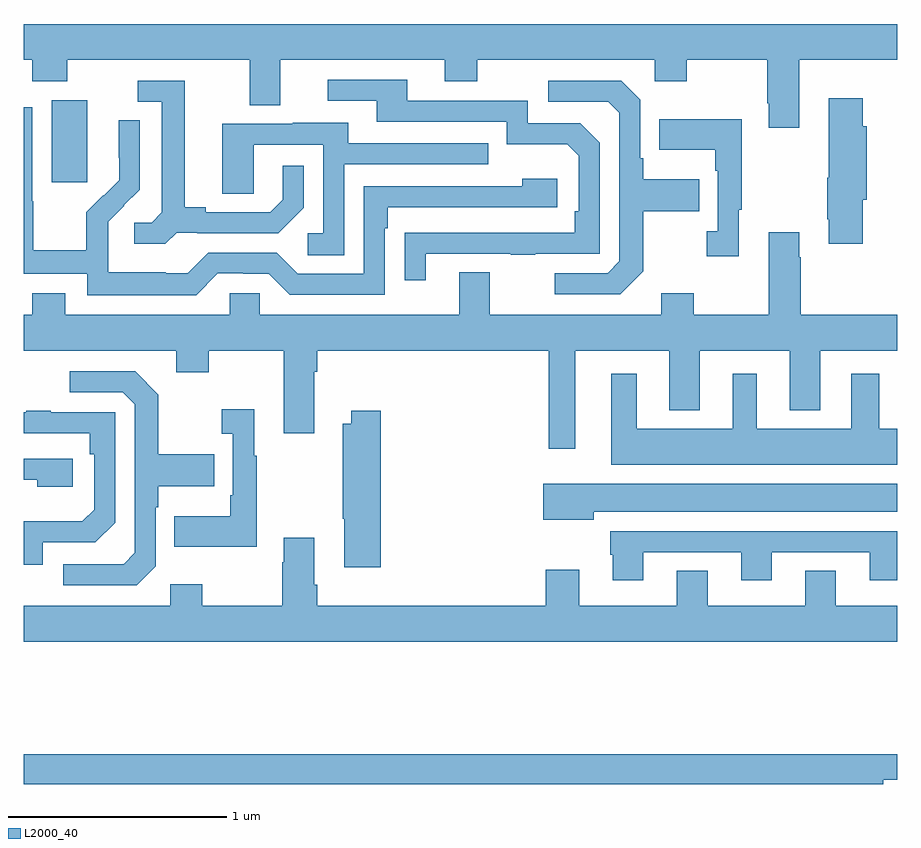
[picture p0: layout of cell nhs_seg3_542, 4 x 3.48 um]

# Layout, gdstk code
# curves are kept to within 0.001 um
import gdstk
lib = gdstk.Library(unit=1e-6, precision=1e-09)
def R(c, l, rs):  # rectangles x0, y0, x1, y1
    for r in rs: c.add(gdstk.rectangle(r[:2], r[2:], *l))
def P(c, l, *ps):  # polygons
    for p in ps: c.add(gdstk.Polygon(p, *l))
L2000_40 = (2000, 40)

nhs_seg3_542 = lib.new_cell('nhs_seg3_542')
R(nhs_seg3_542, L2000_40, [(137.129,733.656,137.29,734.032)])
P(nhs_seg3_542, L2000_40, [(140.551,734.216),(141,734.216),(141,734.38),(137,734.38),(137,734.216),(137.039,734.216),(137.039,734.117),(137.199,734.117),(137.199,734.216),(138.035,734.216),(138.035,734.008),(138.175,734.008),(138.175,734.216),(138.929,734.216),(138.929,734.117),(139.077,734.117),(139.077,734.216),(139.89,734.216),(139.89,734.117),(140.037,734.117),(140.037,734.216),(140.404,734.216),(140.404,734.017),(140.411,734.017),(140.411,733.905),(140.551,733.905)],
  [(138.841,733.329),(139.231,733.329),(139.231,733.324),(139.343,733.324),(139.343,733.329),(139.638,733.329),(139.638,733.836),(139.548,733.926),(139.308,733.926),(139.308,734.028),(138.757,734.028),(138.757,734.124),(138.393,734.124),(138.393,734.028),(138.617,734.028),(138.617,733.932),(139.212,733.932),(139.212,733.829),(139.489,733.829),(139.542,733.776),(139.542,733.522),(139.522,733.522),(139.522,733.425),(138.745,733.424),(138.745,733.206),(138.841,733.206)],
  [(137.7,733.425),(137.794,733.425),(137.794,733.422),(138.166,733.422),(138.282,733.538),(138.282,733.732),(138.185,733.732),(138.185,733.575),(138.128,733.518),(137.833,733.518),(137.833,733.541),(137.737,733.541),(137.737,734.121),(137.523,734.121),(137.523,734.025),(137.633,734.025),(137.633,733.517),(137.586,733.47),(137.505,733.47),(137.505,733.373),(137.648,733.373)],
  [(139.837,733.249),(139.837,733.522),(140.093,733.522),(140.093,733.669),(139.837,733.669),(139.837,733.765),(139.824,733.765),(139.824,734.034),(139.737,734.121),(139.401,734.121),(139.401,734.025),(139.677,734.025),(139.728,733.974),(139.728,733.293),(139.674,733.239),(139.431,733.239),(139.431,733.143),(139.731,733.143)],
  [(140.842,733.575),(140.86,733.575),(140.86,733.911),(140.842,733.911),(140.842,734.041),(140.687,734.041),(140.687,733.675),(140.68,733.675),(140.68,733.486),(140.687,733.486),(140.687,733.374),(140.842,733.374)],
  [(137.889,733.239),(138.005,733.239),(138.005,733.236),(138.123,733.236),(138.219,733.14),(138.654,733.14),(138.654,733.445),(138.667,733.445),(138.667,733.542),(139.444,733.542),(139.444,733.672),(139.283,733.672),(139.283,733.638),(138.558,733.638),(138.558,733.236),(138.255,733.236),(138.159,733.332),(137.844,733.332),(137.751,733.239),(137.651,733.239),(137.651,733.243),(137.388,733.243),(137.388,733.377),(137.386,733.377),(137.386,733.474),(137.532,733.622),(137.532,733.94),(137.435,733.94),(137.435,733.768),(137.438,733.768),(137.438,733.664),(137.367,733.593),(137.364,733.596),(137.287,733.519),(137.287,733.345),(137.043,733.345),(137.043,733.568),(137.04,733.568),(137.04,733.998),(137,733.998),(137,733.236),(137.292,733.236),(137.292,733.139),(137.789,733.139)],
  [(140.275,733.529),(140.287,733.529),(140.287,733.945),(139.909,733.945),(139.909,733.805),(140.166,733.805),(140.166,733.709),(140.178,733.709),(140.178,733.43),(140.127,733.43),(140.127,733.317),(140.275,733.317)],
  [(138.468,733.737),(139.127,733.737),(139.127,733.833),(138.487,733.833),(138.487,733.927),(138.233,733.927),(138.233,733.923),(137.909,733.923),(137.909,733.603),(138.054,733.603),(138.054,733.827),(138.372,733.827),(138.372,733.422),(138.3,733.422),(138.3,733.321),(138.468,733.321)],
  [(139.525,732.884),(139.955,732.884),(139.955,732.611),(140.095,732.611),(140.095,732.884),(140.507,732.884),(140.507,732.611),(140.647,732.611),(140.647,732.884),(141,732.884),(141,733.048),(140.559,733.048),(140.559,733.313),(140.551,733.313),(140.551,733.426),(140.411,733.426),(140.411,733.048),(140.067,733.048),(140.067,733.147),(139.919,733.147),(139.919,733.048),(139.135,733.048),(139.135,733.243),(138.995,733.243),(138.995,733.048),(138.081,733.048),(138.081,733.146),(137.943,733.146),(137.943,733.048),(137.191,733.048),(137.191,733.147),(137.039,733.147),(137.039,733.048),(137,733.048),(137,732.884),(137.699,732.884),(137.699,732.785),(137.847,732.785),(137.847,732.884),(138.191,732.884),(138.191,732.507),(138.331,732.507),(138.331,732.788),(138.344,732.788),(138.344,732.884),(139.404,732.884),(139.404,732.435),(139.525,732.435)],
  [(137.604,731.898),(137.604,732.167),(137.617,732.167),(137.617,732.263),(137.873,732.263),(137.873,732.411),(137.617,732.411),(137.617,732.683),(137.511,732.789),(137.211,732.789),(137.211,732.693),(137.454,732.693),(137.508,732.639),(137.508,731.958),(137.457,731.907),(137.181,731.907),(137.181,731.811),(137.517,731.811)],
  [(141,732.526),(140.917,732.526),(140.917,732.778),(140.789,732.778),(140.789,732.526),(140.356,732.526),(140.356,732.778),(140.246,732.778),(140.246,732.526),(139.807,732.526),(139.807,732.778),(139.691,732.778),(139.691,732.362),(141,732.362)],
  [(138.067,732.403),(138.055,732.403),(138.055,732.616),(137.907,732.616),(137.907,732.503),(137.958,732.503),(137.958,732.223),(137.946,732.223),(137.946,732.127),(137.689,732.127),(137.689,731.987),(138.067,731.987)],
  [(138.635,732.61),(138.5,732.61),(138.5,732.55),(138.46,732.55),(138.46,732.115),(138.467,732.115),(138.467,731.892),(138.635,731.892)],
  [(137.088,732.006),(137.328,732.006),(137.418,732.096),(137.418,732.603),(137.123,732.603),(137.123,732.608),(137.011,732.608),(137.011,732.603),(137,732.603),(137,732.507),(137.302,732.507),(137.302,732.41),(137.322,732.41),(137.322,732.156),(137.269,732.103),(137,732.103),(137,731.904),(137.088,731.904)],
  [(137.224,732.39),(137,732.39),(137,732.294),(137.063,732.294),(137.063,732.26),(137.224,732.26)],
  [(139.609,732.146),(141,732.146),(141,732.274),(139.38,732.274),(139.38,732.11),(139.609,732.11)],
  [(139.837,731.961),(140.285,731.961),(140.285,731.832),(140.425,731.832),(140.425,731.961),(140.873,731.961),(140.873,731.832),(141,731.832),(141,732.057),(139.685,732.057),(139.685,731.949),(139.697,731.949),(139.697,731.832),(139.837,731.832)],
  [(141,731.716),(140.719,731.716),(140.719,731.876),(140.579,731.876),(140.579,731.716),(140.131,731.716),(140.131,731.876),(139.991,731.876),(139.991,731.716),(139.543,731.716),(139.543,731.881),(139.391,731.881),(139.391,731.716),(138.344,731.716),(138.344,731.812),(138.331,731.812),(138.331,732.028),(138.191,732.028),(138.191,731.915),(138.184,731.915),(138.184,731.716),(137.817,731.716),(137.817,731.815),(137.67,731.815),(137.67,731.716),(137,731.716),(137,731.552),(141,731.552)],
  [(140.936,730.919),(141,730.919),(141,731.036),(137,731.036),(137,730.9),(140.936,730.9)])

lib.write_gds('nhs_seg3_542.gds')
